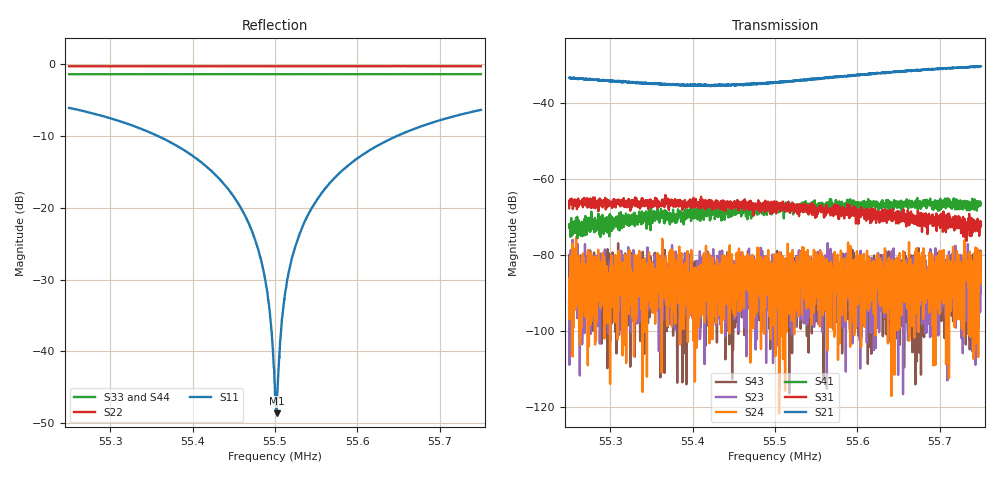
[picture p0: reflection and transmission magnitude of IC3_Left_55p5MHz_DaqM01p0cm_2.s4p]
#  HZ  S  DB  R  50.00
! Rohde & Schwarz Vector Network Analyzer
! Rohde-Schwarz,ZNB8-4Port,1311601044102961,2.82
! Created: UTC 2/13/2019, 8:48:26 AM
! freq[Hz]  db:S11  ang:S11  db:S12  ang:S12  db:S13  ang:S13  db:S14  ang:S14
!  db:S21  ang:S21  db:S22  ang:S22  db:S23  ang:S23  db:S24  ang:S24
!  db:S31  ang:S31  db:S32  ang:S32  db:S33  ang:S33  db:S34  ang:S34
!  db:S41  ang:S41  db:S42  ang:S42  db:S43  ang:S43  db:S44  ang:S44
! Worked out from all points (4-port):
!   2001 points, 55.25 MHz to 55.75 MHz, reference 50 ohm
!   strongest paths, dB at 55.25 MHz, 55.375 MHz, 55.5 MHz, 55.625 MHz, 55.75 MHz:
!     S21: -33.5, -35.4, -34.6, -32.3, -30.5
!     S31: -67.7, -66.5, -67.9, -68.6, -72.3
!     S41: -72.7, -70.9, -67.1, -66.9, -66.5
!     S24: -86.1, -92.3, -83.7, -86.2, -87.5
!     S23: -91.9, -77.4, -81.1, -83.6, -80.8
!     S43: -94.5, -86.7, -87.1, -94.9, -83.4
!   lowest |S11| = -48.6 dB at 55.502 MHz (marker M1), VSWR 1.01, Z = 50.3 + j0.255 ohm
!   |S11| at or under -10 dB: 55.3578 MHz to 55.6482 MHz (290.4 kHz wide, 0.523 % of centre)
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5.525e7  -6.08 -165.1  -33.50 75.2  -65.56 -173.9  -74.59 -28.7
         -33.48 74.6  -0.29 94.5  -91.87 58.3  -86.10 -67.7
         -67.71 -167.1  -84.45 50.6  -1.39 34.9  -86.69 27.5
         -72.73 -30.8  -83.29 46.5  -94.51 -113.5  -1.38 28.4
5.544775e7  -18.09 155.8  -35.33 94.1  -67.50 156.3  -70.45 -57.1
            -35.18 93.6  -0.28 91.0  -89.65 55.9  -85.09 82.4
            -66.82 156.8  -91.65 24.1  -1.38 32.5  -80.93 -15.7
            -69.61 -53.1  -82.07 6.0  -86.66 -111.2  -1.37 26.0
5.548475e7  -28.15 144.4  -34.88 99.1  -67.45 152.3  -67.54 -61.6
            -35.00 97.9  -0.29 90.3  -86.31 -55.7  -85.89 -145.9
            -66.56 152.6  -88.41 50.6  -1.38 32.1  -82.80 53.1
            -69.22 -66.0  -95.48 -153.0  -94.20 -151.3  -1.37 25.6
5.5502e7  -48.64 43.3  -34.60 100.0  -65.92 149.8  -67.95 -62.7
          -34.62 100.5  -0.28 89.9  -86.50 -115.4  -79.79 -67.7
          -67.30 157.9  -87.53 67.1  -1.38 31.9  -88.22 24.9
          -68.16 -63.0  -89.00 -132.5  -81.92 97.5  -1.38 25.4
5.55185e7  -28.00 -31.7  -34.39 101.5  -67.35 151.6  -66.37 -71.1
           -34.38 102.2  -0.28 89.7  -94.24 -112.0  -95.17 -158.8
           -67.73 141.0  -90.62 -24.8  -1.38 31.7  -84.81 -76.4
           -66.78 -63.2  -80.49 114.4  -86.85 56.7  -1.37 25.2
5.555675e7  -17.94 -43.6  -33.51 104.6  -68.15 139.6  -66.34 -62.8
            -33.68 103.9  -0.28 89.0  -85.45 -40.5  -82.52 -156.9
            -68.65 146.8  -83.17 99.7  -1.38 31.2  -91.64 155.3
            -68.44 -69.7  -85.80 -166.3  -87.45 -66.7  -1.37 24.7
5.575e7  -6.36 -81.6  -30.48 97.8  -72.53 129.9  -65.60 -107.1
         -30.45 98.0  -0.28 85.5  -80.83 -127.8  -87.45 162.6
         -72.28 115.6  -84.24 -64.0  -1.37 28.9  -85.68 -155.7
         -66.49 -106.8  -94.15 168.5  -83.40 106.9  -1.37 22.3
